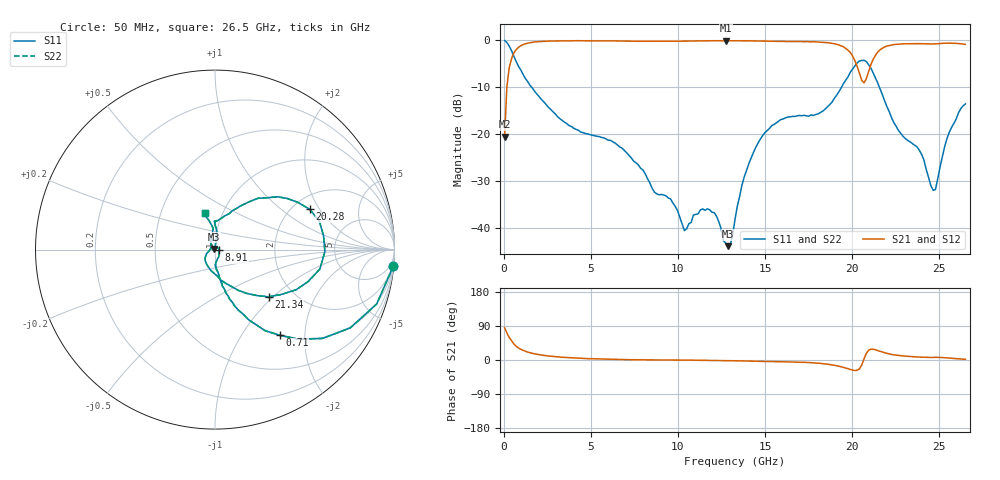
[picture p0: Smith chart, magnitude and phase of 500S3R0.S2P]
!  American Technical Ceramics  Date:  8/12/98
!  One Norden Lane
!  Huntington Station,  NY.  11746-2102
!  Tel:  (516) 547-5700  Fax:  (516) 547-5748
!  Part Number  500s3r0
!  Description: Broadband Microwave capacitor
!  Application:
# GHZ S DB R 50
! Freq  |S11|  S11 Ph  |S21|  S21 Ph  |S12|  S12 Ph  |S22|  S22 Ph
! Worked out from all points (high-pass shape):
!   201 points, 50 MHz to 26.5 GHz, reference 50 ohm
!   highest |S21| = -0.07 dB at 12.75 GHz (marker M1); lowest = -20.5 dB at 50 MHz (marker M2)
!   |S21| within 3 dB of the highest: 538.5 MHz to 19.98 GHz (19.44 GHz wide, 190 % of centre); 21.36 GHz to end of sweep
!   lowest |S11| = -43.9 dB at 12.88 GHz (marker M3), VSWR 1.01, Z = 49.5 + j0.33 ohm
!   |S11| at or under -10 dB: 1.603 GHz to 19.39 GHz (17.79 GHz wide, 169 % of centre); 21.56 GHz to end of sweep
!   |S22| runs from -43.9 to 0.0 dB; largest |S21 - S12| = 0
!   S11 on the Smith chart (normalised r, x): 50 MHz: 1, -22; 710 MHz: 1.01, -1.50; 8.91 GHz: 1.05, -0.01; 20.28 GHz: 2.45, +1.64; 21.34 GHz: 1.50, -0.94; 26.5 GHz: 0.83, +0.35
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0.05  -0.02 -5.3  -20.54 85.1  -20.54 85.1  -0.02 -5.3
0.18  -0.44 -18.6  -9.94 71.6  -9.94 71.6  -0.44 -18.6
0.31  -1.20 -30.1  -5.94 59.9  -5.94 59.9  -1.20 -30.1
0.71  -4.48 -53.0  -1.99 36.4  -1.99 36.4  -4.48 -53.0
1.77  -10.85 -73.5  -0.35 16.2  -0.35 16.2  -10.85 -73.5
4.55  -19.70 -86.5  -0.09 4.0  -0.09 4.0  -19.70 -86.5
6.79  -23.00 -85.3  -0.14 1.1  -0.14 1.1  -23.00 -85.3
8.91  -32.97 -6.7  -0.20 0.0  -0.20 0.0  -32.97 -6.7
10.37  -40.60 80.9  -0.16 -0.2  -0.16 -0.2  -40.60 80.9
12.08  -36.78 177.8  -0.08 -1.2  -0.08 -1.2  -36.78 177.8
12.75  -43.31 172.5  -0.07 -1.7  -0.07 -1.7  -43.31 172.5
12.88  -43.93 148.4  -0.08 -1.8  -0.08 -1.8  -43.93 148.4
13.28  -38.11 94.9  -0.08 -2.0  -0.08 -2.0  -38.11 94.9
14.86  -20.34 84.7  -0.16 -3.8  -0.16 -3.8  -20.34 84.7
17.77  -16.03 87.1  -0.29 -7.4  -0.29 -7.4  -16.03 87.1
19.36  -10.20 56.4  -1.15 -17.8  -1.15 -17.8  -10.20 56.4
20.28  -4.83 23.1  -5.50 -27.2  -5.50 -27.2  -4.83 23.1
20.68  -4.26 -1.0  -9.08 2.7  -9.08 2.7  -4.26 -1.0
21.34  -8.01 -41.4  -3.18 27.0  -3.18 27.0  -8.01 -41.4
22.14  -15.30 -79.2  -1.09 16.1  -1.09 16.1  -15.30 -79.2
24.65  -31.99 166.0  -0.77 7.0  -0.77 7.0  -31.99 166.0
26.5  -13.56 105.8  -0.86 1.8  -0.86 1.8  -13.56 105.8
